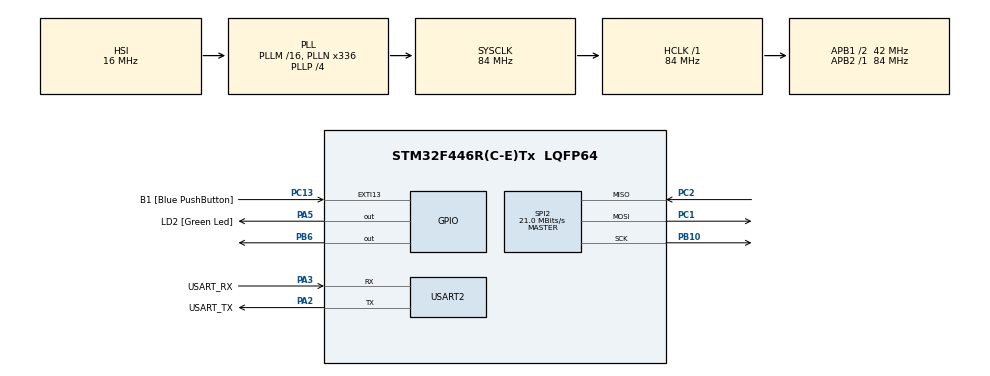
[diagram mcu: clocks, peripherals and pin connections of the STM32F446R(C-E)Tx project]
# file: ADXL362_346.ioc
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Mcu.Family=STM32F4
Mcu.Name=STM32F446R(C-E)Tx
Mcu.Package=LQFP64
NVIC.PriorityGroup=NVIC_PRIORITYGROUP_0
PA13.GPIO_Label=TMS
PA13.Mode=Serial_Wire
PA13.Signal=SYS_JTMS-SWDIO
PA14.GPIO_Label=TCK
PA14.Mode=Serial_Wire
PA14.Signal=SYS_JTCK-SWCLK
PA2.GPIO_Label=USART_TX
PA2.Mode=Asynchronous
PA2.Signal=USART2_TX
PA3.GPIO_Label=USART_RX
PA3.Mode=Asynchronous
PA3.Signal=USART2_RX
PA5.GPIO_Label=LD2 [Green Led]
PA5.Signal=GPIO_Output
PB10.Mode=Full_Duplex_Master
PB10.Signal=SPI2_SCK
PB3.GPIO_Label=SWO
PB3.Signal=SYS_JTDO-SWO
PB6.Signal=GPIO_Output
PC1.Mode=Full_Duplex_Master
PC1.Signal=SPI2_MOSI
PC13.GPIO_Label=B1 [Blue PushButton]
PC13.GPIO_ModeDefaultEXTI=GPIO_MODE_IT_FALLING
PC13.Signal=GPXTI13
PC14-OSC32_IN.Mode=LSE-External-Oscillator
PC14-OSC32_IN.Signal=RCC_OSC32_IN
PC15-OSC32_OUT.Mode=LSE-External-Oscillator
PC15-OSC32_OUT.Signal=RCC_OSC32_OUT
PC2.Mode=Full_Duplex_Master
PC2.Signal=SPI2_MISO
PH0-OSC_IN.Mode=HSE-External-Oscillator
PH0-OSC_IN.Signal=RCC_OSC_IN
PH1-OSC_OUT.Mode=HSE-External-Oscillator
PH1-OSC_OUT.Signal=RCC_OSC_OUT
ProjectManager.HeapSize=0x200
ProjectManager.StackSize=0x400
ProjectManager.TargetToolchain=STM32CubeIDE
RCC.48MHZClocksFreq_Value=84000000
RCC.AHBFreq_Value=84000000
RCC.APB1CLKDivider=RCC_HCLK_DIV2
RCC.APB1Freq_Value=42000000
RCC.APB1TimFreq_Value=84000000
RCC.APB2Freq_Value=84000000
RCC.APB2TimFreq_Value=84000000
RCC.CortexFreq_Value=84000000
RCC.FLatency-AdvancedSettings=FLASH_LATENCY_2
RCC.HCLKFreq_Value=84000000
RCC.HSE_VALUE=8000000
RCC.HSI_VALUE=16000000
RCC.PLLN=336
RCC.PLLP=RCC_PLLP_DIV4
RCC.SYSCLKFreq_VALUE=84000000
RCC.SYSCLKSource=RCC_SYSCLKSOURCE_PLLCLK
RCC.USBFreq_Value=168000000
RCC.VCOOutputFreq_Value=336000000
SPI2.CalculateBaudRate=21.0 MBits/s
SPI2.Direction=SPI_DIRECTION_2LINES
SPI2.Mode=SPI_MODE_MASTER
SPI2.VirtualType=VM_MASTER
USART2.VirtualMode=VM_ASYNC
board=NUCLEO-F446RE

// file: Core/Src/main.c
/* USER CODE BEGIN Header */
/**
  ******************************************************************************
  * @file           : main.c
  * @brief          : Main program body
  ******************************************************************************
  * @attention
  *
  * Copyright (c) 2023 STMicroelectronics.
  * All rights reserved.
  *
  * This software is licensed under terms that can be found in the LICENSE file
  * in the root directory of this software component.
  * If no LICENSE file comes with this software, it is provided AS-IS.
  *
  ******************************************************************************
  */
/* USER CODE END Header */
#include "main.h"

/* USER CODE BEGIN Includes */
#include <stdio.h>

/* USER CODE END Includes */

/* USER CODE BEGIN PD */
#define CDM_READ 0x0B
#define REGISTER_G 0x02
#define REGISTER_X 0x08
#define REGISTER_Y 0x09
#define REGISTER_Z 0x0A

/* USER CODE END PD */

SPI_HandleTypeDef hspi2;

UART_HandleTypeDef huart2;

/* USER CODE BEGIN PV */
uint8_t spiData[2];
uint8_t spiDataRecive[1];
int rawMax = 127 / 2;

uint8_t tx_data[2];
uint8_t rx_data[2];

uint8_t val;

int count = 0;

/* USER CODE END PV */

void SystemClock_Config(void);
static void MX_GPIO_Init(void);
static void MX_USART2_UART_Init(void);
static void MX_SPI2_Init(void);

/* USER CODE BEGIN 0 */
void send_uart(char *string)
{
	uint8_t len = strlen(string);
	HAL_UART_Transmit(&huart2, (uint8_t *) string, len, 2000);
}

uint8_t ADXL362_ReadReg(uint8_t reg)
{
    tx_data[0] = 0x0B;
    tx_data[1] = reg;
    HAL_GPIO_WritePin(GPIOB, GPIO_PIN_6, GPIO_PIN_RESET);
    HAL_SPI_TransmitReceive(&hspi2, tx_data, rx_data, 2, 1000);
    HAL_GPIO_WritePin(GPIOB, GPIO_PIN_6, GPIO_PIN_SET);
    return rx_data[1];
}
/* USER CODE END 0 */

int main(void)
{
  /* USER CODE BEGIN 1 */
   char msg[100];
  /* USER CODE END 1 */

  /* MCU Configuration--------------------------------------------------------*/

  /* Reset of all peripherals, Initializes the Flash interface and the Systick. */
  HAL_Init();

  /* Configure the system clock */
  SystemClock_Config();

  /* Initialize all configured peripherals */
  MX_GPIO_Init();
  MX_USART2_UART_Init();
  MX_SPI2_Init();
  /* USER CODE BEGIN 2 */

  HAL_GPIO_WritePin(GPIOB, GPIO_PIN_6, GPIO_PIN_SET);
  HAL_Delay(10);
  //Desactivate the device by setting the cs pin HIGH

  /* USER CODE END 2 */

  /* Infinite loop */
  while (1)
  {

	//Read Data :
	//1- Set cs LOW - Activate
	HAL_GPIO_WritePin(GPIOB, GPIO_PIN_6, GPIO_PIN_RESET);
	//2- Transmite the command read
	spiData[0] = CDM_READ;
	spiData[1] = REGISTER_X;
	HAL_SPI_Transmit(&hspi2, spiData, 2, 500);
	//3- Transmite register adress
	//HAL_SPI_Transmit(&hspi2, REGISTER_X, 1, 500);
	//4- Read
	HAL_SPI_Receive(&hspi2, spiDataRecive[0], 1, 500);
	//5- Set cs HIGH - Desactivate
	HAL_GPIO_WritePin(GPIOB, GPIO_PIN_6, GPIO_PIN_SET);

	//Chat GPT
	count++;
	val = ADXL362_ReadReg(REGISTER_X);
	sprintf(msg, "%d. Chat GPT    -> X : %d\r\n%d. 2 fonctions -> X : %d\r\n",(int)count, (int)val, (int)count, (int)spiDataRecive[0]);
	send_uart(msg);

	HAL_Delay(100);

//	int xraw = HAL_SPI_Transmit(&hspi2, REGISTER_X, 1, 10);
//	int yraw = HAL_SPI_Transmit(&hspi2, REGISTER_Y, 1, 10);
//	int zraw = HAL_SPI_Transmit(&hspi2, REGISTER_Z, 1, 10);
//	int x = xraw/rawMax;
//	int y = yraw/rawMax;
//	int z = zraw/rawMax;
//	sprintf(spiData, "X raw data : %d\n\r", x);
//	send_uart(spiData);
//	sprintf(spiData, "Y raw data : %d\n\r", y);
//	send_uart(spiData);
//	sprintf(spiData, "Z raw data : %d\n\r", z);
//	send_uart(spiData);
//	HAL_Delay(1000);

  }
}

void SystemClock_Config(void)
{
  RCC_OscInitTypeDef RCC_OscInitStruct = {0};
  RCC_ClkInitTypeDef RCC_ClkInitStruct = {0};

  /** Configure the main internal regulator output voltage
  */
  __HAL_RCC_PWR_CLK_ENABLE();
  __HAL_PWR_VOLTAGESCALING_CONFIG(PWR_REGULATOR_VOLTAGE_SCALE3);

  /** Initializes the RCC Oscillators according to the specified parameters
  * in the RCC_OscInitTypeDef structure.
  */
  RCC_OscInitStruct.OscillatorType = RCC_OSCILLATORTYPE_HSI;
  RCC_OscInitStruct.HSIState = RCC_HSI_ON;
  RCC_OscInitStruct.HSICalibrationValue = RCC_HSICALIBRATION_DEFAULT;
  RCC_OscInitStruct.PLL.PLLState = RCC_PLL_ON;
  RCC_OscInitStruct.PLL.PLLSource = RCC_PLLSOURCE_HSI;
  RCC_OscInitStruct.PLL.PLLM = 16;
  RCC_OscInitStruct.PLL.PLLN = 336;
  RCC_OscInitStruct.PLL.PLLP = RCC_PLLP_DIV4;
  RCC_OscInitStruct.PLL.PLLQ = 2;
  RCC_OscInitStruct.PLL.PLLR = 2;
  if (HAL_RCC_OscConfig(&RCC_OscInitStruct) != HAL_OK)
  {
    Error_Handler();
  }

  /** Initializes the CPU, AHB and APB buses clocks
  */
  RCC_ClkInitStruct.ClockType = RCC_CLOCKTYPE_HCLK|RCC_CLOCKTYPE_SYSCLK
                              |RCC_CLOCKTYPE_PCLK1|RCC_CLOCKTYPE_PCLK2;
  RCC_ClkInitStruct.SYSCLKSource = RCC_SYSCLKSOURCE_PLLCLK;
  RCC_ClkInitStruct.AHBCLKDivider = RCC_SYSCLK_DIV1;
  RCC_ClkInitStruct.APB1CLKDivider = RCC_HCLK_DIV2;
  RCC_ClkInitStruct.APB2CLKDivider = RCC_HCLK_DIV1;

  if (HAL_RCC_ClockConfig(&RCC_ClkInitStruct, FLASH_LATENCY_2) != HAL_OK)
  {
    Error_Handler();
  }
}

static void MX_SPI2_Init(void)
{

  /* SPI2 parameter configuration*/
  hspi2.Instance = SPI2;
  hspi2.Init.Mode = SPI_MODE_MASTER;
  hspi2.Init.Direction = SPI_DIRECTION_2LINES;
  hspi2.Init.DataSize = SPI_DATASIZE_8BIT;
  hspi2.Init.CLKPolarity = SPI_POLARITY_LOW;
  hspi2.Init.CLKPhase = SPI_PHASE_1EDGE;
  hspi2.Init.NSS = SPI_NSS_SOFT;
  hspi2.Init.BaudRatePrescaler = SPI_BAUDRATEPRESCALER_64;
  hspi2.Init.FirstBit = SPI_FIRSTBIT_MSB;
  hspi2.Init.TIMode = SPI_TIMODE_DISABLE;
  hspi2.Init.CRCCalculation = SPI_CRCCALCULATION_DISABLE;
  hspi2.Init.CRCPolynomial = 10;
  if (HAL_SPI_Init(&hspi2) != HAL_OK)
  {
    Error_Handler();
  }

}

static void MX_USART2_UART_Init(void)
{

  huart2.Instance = USART2;
  huart2.Init.BaudRate = 115200;
  huart2.Init.WordLength = UART_WORDLENGTH_8B;
  huart2.Init.StopBits = UART_STOPBITS_1;
  huart2.Init.Parity = UART_PARITY_NONE;
  huart2.Init.Mode = UART_MODE_TX_RX;
  huart2.Init.HwFlowCtl = UART_HWCONTROL_NONE;
  huart2.Init.OverSampling = UART_OVERSAMPLING_16;
  if (HAL_UART_Init(&huart2) != HAL_OK)
  {
    Error_Handler();
  }

}

static void MX_GPIO_Init(void)
{
  GPIO_InitTypeDef GPIO_InitStruct = {0};

  /* GPIO Ports Clock Enable */
  __HAL_RCC_GPIOC_CLK_ENABLE();
  __HAL_RCC_GPIOH_CLK_ENABLE();
  __HAL_RCC_GPIOA_CLK_ENABLE();
  __HAL_RCC_GPIOB_CLK_ENABLE();

  /*Configure GPIO pin Output Level */
  HAL_GPIO_WritePin(LD2_GPIO_Port, LD2_Pin, GPIO_PIN_RESET);

  /*Configure GPIO pin Output Level */
  HAL_GPIO_WritePin(GPIOB, GPIO_PIN_6, GPIO_PIN_RESET);

  /*Configure GPIO pin : B1_Pin */
  GPIO_InitStruct.Pin = B1_Pin;
  GPIO_InitStruct.Mode = GPIO_MODE_IT_FALLING;
  GPIO_InitStruct.Pull = GPIO_NOPULL;
  HAL_GPIO_Init(B1_GPIO_Port, &GPIO_InitStruct);

  /*Configure GPIO pin : LD2_Pin */
  GPIO_InitStruct.Pin = LD2_Pin;
  GPIO_InitStruct.Mode = GPIO_MODE_OUTPUT_PP;
  GPIO_InitStruct.Pull = GPIO_NOPULL;
  GPIO_InitStruct.Speed = GPIO_SPEED_FREQ_LOW;
  HAL_GPIO_Init(LD2_GPIO_Port, &GPIO_InitStruct);

  /*Configure GPIO pin : PB6 */
  GPIO_InitStruct.Pin = GPIO_PIN_6;
  GPIO_InitStruct.Mode = GPIO_MODE_OUTPUT_PP;
  GPIO_InitStruct.Pull = GPIO_NOPULL;
  GPIO_InitStruct.Speed = GPIO_SPEED_FREQ_LOW;
  HAL_GPIO_Init(GPIOB, &GPIO_InitStruct);

}

void Error_Handler(void)
{
  __disable_irq();
  while (1)
  {
  }
}
